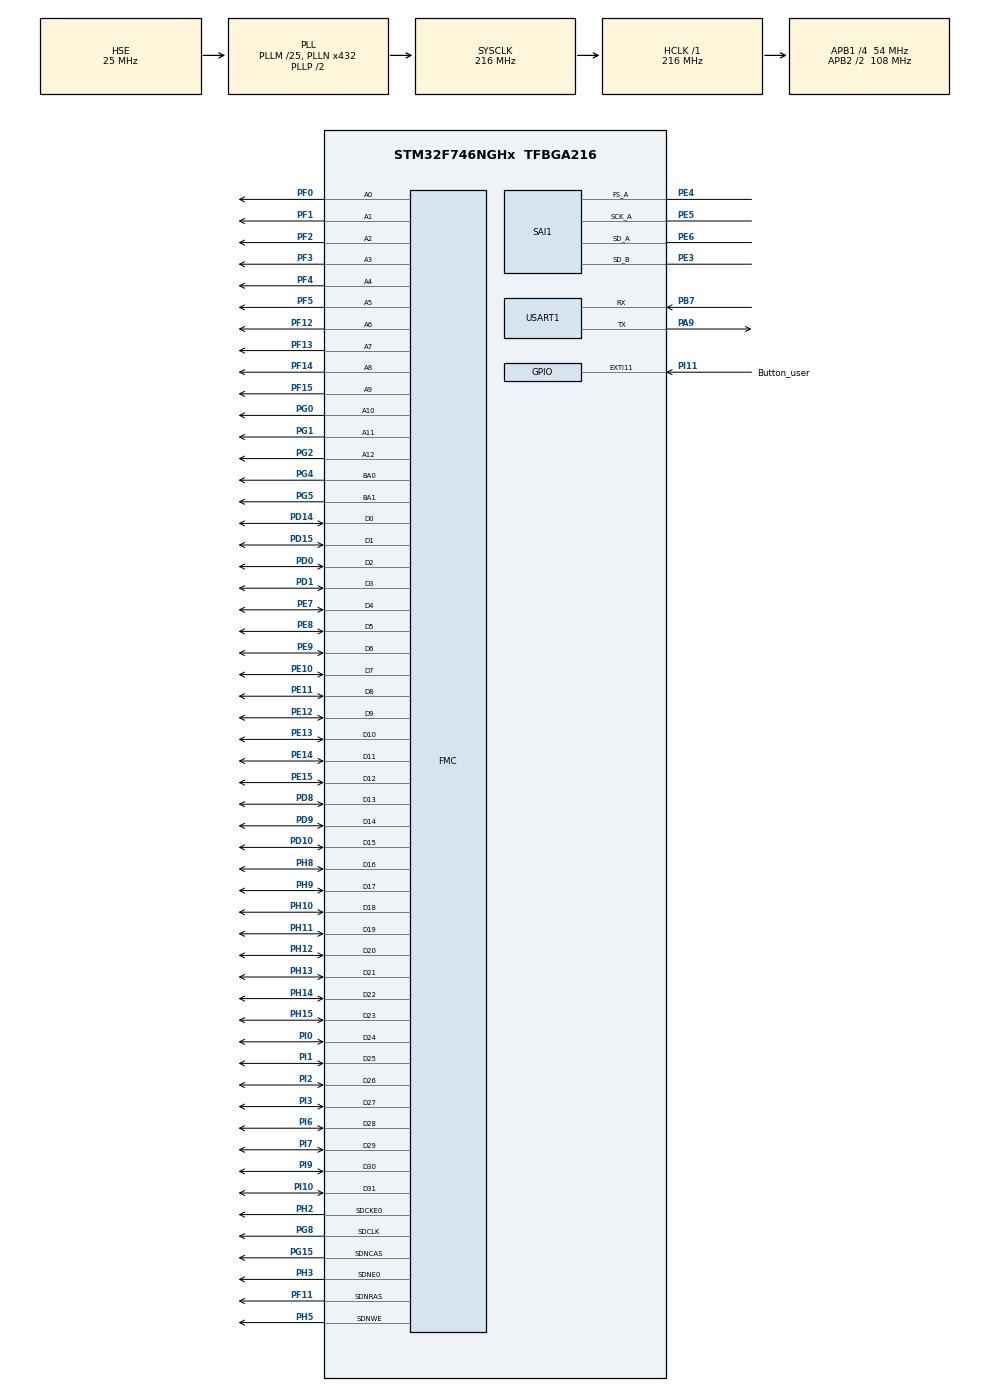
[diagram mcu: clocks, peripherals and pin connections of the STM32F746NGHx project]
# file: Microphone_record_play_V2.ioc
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CORTEX_M7.AccessPermission-Cortex_Memory_Protection_Unit_Region0_Settings=MPU_REGION_FULL_ACCESS
CORTEX_M7.BaseAddress-Cortex_Memory_Protection_Unit_Region0_Settings=0xC0000000
CORTEX_M7.Enable-Cortex_Memory_Protection_Unit_Region0_Settings=MPU_REGION_ENABLE
CORTEX_M7.MPU_Control=MPU_PRIVILEGED_DEFAULT
CORTEX_M7.Size-Cortex_Memory_Protection_Unit_Region0_Settings=MPU_REGION_SIZE_8MB
Dma.Request0=SAI1_A
Dma.Request1=SAI1_B
Dma.SAI1_A.0.Direction=DMA_PERIPH_TO_MEMORY
Dma.SAI1_A.0.FIFOMode=DMA_FIFOMODE_DISABLE
Dma.SAI1_A.0.Instance=DMA2_Stream1
Dma.SAI1_A.0.MemDataAlignment=DMA_MDATAALIGN_WORD
Dma.SAI1_A.0.MemInc=DMA_MINC_ENABLE
Dma.SAI1_A.0.Mode=DMA_CIRCULAR
Dma.SAI1_A.0.PeriphDataAlignment=DMA_PDATAALIGN_WORD
Dma.SAI1_A.0.PeriphInc=DMA_PINC_DISABLE
Dma.SAI1_A.0.Priority=DMA_PRIORITY_HIGH
Dma.SAI1_B.1.Direction=DMA_MEMORY_TO_PERIPH
Dma.SAI1_B.1.FIFOMode=DMA_FIFOMODE_DISABLE
Dma.SAI1_B.1.Instance=DMA2_Stream4
Dma.SAI1_B.1.MemDataAlignment=DMA_MDATAALIGN_WORD
Dma.SAI1_B.1.MemInc=DMA_MINC_ENABLE
Dma.SAI1_B.1.Mode=DMA_CIRCULAR
Dma.SAI1_B.1.PeriphDataAlignment=DMA_PDATAALIGN_WORD
Dma.SAI1_B.1.PeriphInc=DMA_PINC_DISABLE
Dma.SAI1_B.1.Priority=DMA_PRIORITY_LOW
FMC.CASLatency1=FMC_SDRAM_CAS_LATENCY_3
FMC.ColumnBitsNumber1=FMC_SDRAM_COLUMN_BITS_NUM_9
FMC.ExitSelfRefreshDelay1=6
FMC.LoadToActiveDelay1=2
FMC.RCDDelay1=2
FMC.RPDelay1=2
FMC.RPDelay2=2
FMC.ReadBurst1=FMC_SDRAM_RBURST_ENABLE
FMC.ReadBurst2=FMC_SDRAM_RBURST_ENABLE
FMC.ReadPipeDelay1=FMC_SDRAM_RPIPE_DELAY_1
FMC.ReadPipeDelay2=FMC_SDRAM_RPIPE_DELAY_1
FMC.RowCycleDelay1=6
FMC.RowCycleDelay2=6
FMC.SDClockPeriod1=FMC_SDRAM_CLOCK_PERIOD_2
FMC.SDClockPeriod2=FMC_SDRAM_CLOCK_PERIOD_2
FMC.SelfRefreshTime1=4
FMC.WriteRecoveryTime1=2
Mcu.Family=STM32F7
Mcu.Name=STM32F746NGHx
Mcu.Package=TFBGA216
NVIC.DMA2_Stream1_IRQn=true\:0\:0\:true\:false\:true\:false\:true\:true
NVIC.DMA2_Stream4_IRQn=true\:0\:0\:false\:false\:true\:false\:true\:true
NVIC.EXTI15_10_IRQn=true\:0\:0\:false\:false\:true\:true\:true\:true
NVIC.PriorityGroup=NVIC_PRIORITYGROUP_4
PA13.Mode=Serial_Wire
PA13.Signal=SYS_JTMS-SWDIO
PA14.Mode=Serial_Wire
PA14.Signal=SYS_JTCK-SWCLK
PA9.Mode=Asynchronous
PA9.Signal=USART1_TX
PB7.Mode=Asynchronous
PB7.Signal=USART1_RX
PD0.Signal=FMC_D2_DA2
PD1.Signal=FMC_D3_DA3
PD10.Signal=FMC_D15_DA15
PD14.Signal=FMC_D0_DA0
PD15.Signal=FMC_D1_DA1
PD8.Signal=FMC_D13_DA13
PD9.Signal=FMC_D14_DA14
PE10.Signal=FMC_D7_DA7
PE11.Signal=FMC_D8_DA8
PE12.Signal=FMC_D9_DA9
PE13.Signal=FMC_D10_DA10
PE14.Signal=FMC_D11_DA11
PE15.Signal=FMC_D12_DA12
PE3.Mode=SAI_B_SyncSlave
PE3.Signal=SAI1_SD_B
PE4.Mode=SAI_A_Master
PE4.Signal=SAI1_FS_A
PE5.Mode=SAI_A_Master
PE5.Signal=SAI1_SCK_A
PE6.Mode=SAI_A_Master
PE6.Signal=SAI1_SD_A
PE7.Signal=FMC_D4_DA4
PE8.Signal=FMC_D5_DA5
PE9.Signal=FMC_D6_DA6
PF0.Signal=FMC_A0
PF1.Signal=FMC_A1
PF11.Signal=FMC_SDNRAS
PF12.Signal=FMC_A6
PF13.Signal=FMC_A7
PF14.Signal=FMC_A8
PF15.Signal=FMC_A9
PF2.Signal=FMC_A2
PF3.Signal=FMC_A3
PF4.Signal=FMC_A4
PF5.Signal=FMC_A5
PG0.Signal=FMC_A10
PG1.Signal=FMC_A11
PG15.Signal=FMC_SDNCAS
PG2.Signal=FMC_A12
PG4.Signal=FMC_A14_BA0
PG5.Signal=FMC_A15_BA1
PG8.Signal=FMC_SDCLK
PH0/OSC_IN.Mode=HSE-External-Oscillator
PH0/OSC_IN.Signal=RCC_OSC_IN
PH1/OSC_OUT.Mode=HSE-External-Oscillator
PH1/OSC_OUT.Signal=RCC_OSC_OUT
PH10.Signal=FMC_D18
PH11.Signal=FMC_D19
PH12.Signal=FMC_D20
PH13.Signal=FMC_D21
PH14.Signal=FMC_D22
PH15.Signal=FMC_D23
PH2.Mode=SdramChipSelect1_1
PH2.Signal=FMC_SDCKE0
PH3.Mode=SdramChipSelect1_1
PH3.Signal=FMC_SDNE0
PH5.Signal=FMC_SDNWE
PH8.Signal=FMC_D16
PH9.Signal=FMC_D17
PI0.Signal=FMC_D24
PI1.Signal=FMC_D25
PI10.Signal=FMC_D31
PI11.GPIO_Label=Button_user
PI11.Signal=GPXTI11
PI2.Signal=FMC_D26
PI3.Signal=FMC_D27
PI6.Signal=FMC_D28
PI7.Signal=FMC_D29
PI9.Signal=FMC_D30
ProjectManager.HeapSize=0x200
ProjectManager.StackSize=0x400
ProjectManager.TargetToolchain=STM32CubeIDE
RCC.AHBFreq_Value=216000000
RCC.APB1CLKDivider=RCC_HCLK_DIV4
RCC.APB1Freq_Value=54000000
RCC.APB1TimFreq_Value=108000000
RCC.APB2CLKDivider=RCC_HCLK_DIV2
RCC.APB2Freq_Value=108000000
RCC.APB2TimFreq_Value=216000000
RCC.CortexFreq_Value=216000000
RCC.HCLKFreq_Value=216000000
RCC.HSE_VALUE=25000000
RCC.HSI_VALUE=16000000
RCC.LSE_VALUE=32768
RCC.PLL48CLockSelection=RCC_CLK48SOURCE_PLLSAIP
RCC.PLLI2SN=100
RCC.PLLM=25
RCC.PLLN=432
RCC.PLLQ=9
RCC.PLLSAIN=100
RCC.PLLSAIP=RCC_PLLSAIP_DIV8
RCC.PLLSAIR=5
RCC.PLLSAIRDiv=RCC_PLLSAIDIVR_8
RCC.PLLSourceVirtual=RCC_PLLSOURCE_HSE
RCC.SDMMCClockSelection=RCC_SDMMC1CLKSOURCE_CLK48
RCC.SYSCLKFreq_VALUE=216000000
RCC.SYSCLKSource=RCC_SYSCLKSOURCE_PLLCLK
RCC.USBFreq_Value=12500000
RCC.VCOOutputFreq_Value=432000000
SAI1.AudioFrequency-SAI_A_Master=SAI_AUDIO_FREQUENCY_16K
SAI1.AudioMode-SAI_A_Master=SAI_MODEMASTER_RX
SAI1.AudioMode-SAI_B_SyncSlave=SAI_MODESLAVE_TX
SAI1.DataSize-SAI_A_Master=SAI_DATASIZE_16
SAI1.DataSize-SAI_B_SyncSlave=SAI_DATASIZE_16
SAI1.ErrorAudioFreq-SAI_A_Master=1.72 %
SAI1.FIFOThreshold-SAI_B_SyncSlave=SAI_FIFOTHRESHOLD_1QF
SAI1.FrameLength-SAI_A_Master=16
SAI1.FrameLength-SAI_B_SyncSlave=16
SAI1.Instance-SAI_A_Master=SAI$Index_Block_A
SAI1.Instance-SAI_B_SyncSlave=SAI$Index_Block_B
SAI1.MClockEnable-SAI_A_Master=SAI_MASTERCLOCK_DISABLE
SAI1.RealAudioFreq-SAI_A_Master=16.276 KHz
SAI1.VirtualMode-SAI_A_Master=VM_MASTER
SAI1.VirtualMode-SAI_B_SyncSlave=VM_SLAVE
SH.FMC_A0.0=FMC_A0,13b-sda1
SH.FMC_A1.0=FMC_A1,13b-sda1
SH.FMC_A10.0=FMC_A10,13b-sda1
SH.FMC_A11.0=FMC_A11,13b-sda1
SH.FMC_A12.0=FMC_A12,13b-sda1
SH.FMC_A14_BA0.0=FMC_BA0,FourSdramBanks1
SH.FMC_A15_BA1.0=FMC_BA1,FourSdramBanks1
SH.FMC_A2.0=FMC_A2,13b-sda1
SH.FMC_A3.0=FMC_A3,13b-sda1
SH.FMC_A4.0=FMC_A4,13b-sda1
SH.FMC_A5.0=FMC_A5,13b-sda1
SH.FMC_A6.0=FMC_A6,13b-sda1
SH.FMC_A7.0=FMC_A7,13b-sda1
SH.FMC_A8.0=FMC_A8,13b-sda1
SH.FMC_A9.0=FMC_A9,13b-sda1
SH.FMC_D0_DA0.0=FMC_D0,sd-32b-d1
SH.FMC_D10_DA10.0=FMC_D10,sd-32b-d1
SH.FMC_D11_DA11.0=FMC_D11,sd-32b-d1
SH.FMC_D12_DA12.0=FMC_D12,sd-32b-d1
SH.FMC_D13_DA13.0=FMC_D13,sd-32b-d1
SH.FMC_D14_DA14.0=FMC_D14,sd-32b-d1
SH.FMC_D15_DA15.0=FMC_D15,sd-32b-d1
SH.FMC_D16.0=FMC_D16,sd-32b-d1
SH.FMC_D17.0=FMC_D17,sd-32b-d1
SH.FMC_D18.0=FMC_D18,sd-32b-d1
SH.FMC_D19.0=FMC_D19,sd-32b-d1
SH.FMC_D1_DA1.0=FMC_D1,sd-32b-d1
SH.FMC_D20.0=FMC_D20,sd-32b-d1
SH.FMC_D21.0=FMC_D21,sd-32b-d1
SH.FMC_D22.0=FMC_D22,sd-32b-d1
SH.FMC_D23.0=FMC_D23,sd-32b-d1
SH.FMC_D24.0=FMC_D24,sd-32b-d1
SH.FMC_D25.0=FMC_D25,sd-32b-d1
SH.FMC_D26.0=FMC_D26,sd-32b-d1
SH.FMC_D27.0=FMC_D27,sd-32b-d1
SH.FMC_D28.0=FMC_D28,sd-32b-d1
SH.FMC_D29.0=FMC_D29,sd-32b-d1
SH.FMC_D2_DA2.0=FMC_D2,sd-32b-d1
SH.FMC_D30.0=FMC_D30,sd-32b-d1
SH.FMC_D31.0=FMC_D31,sd-32b-d1
SH.FMC_D3_DA3.0=FMC_D3,sd-32b-d1
SH.FMC_D4_DA4.0=FMC_D4,sd-32b-d1
SH.FMC_D5_DA5.0=FMC_D5,sd-32b-d1
SH.FMC_D6_DA6.0=FMC_D6,sd-32b-d1
SH.FMC_D7_DA7.0=FMC_D7,sd-32b-d1
SH.FMC_D8_DA8.0=FMC_D8,sd-32b-d1
SH.FMC_D9_DA9.0=FMC_D9,sd-32b-d1
SH.FMC_SDCLK.0=FMC_SDCLK,13b-sda1
SH.FMC_SDNCAS.0=FMC_SDNCAS,13b-sda1
SH.FMC_SDNRAS.0=FMC_SDNRAS,13b-sda1
SH.FMC_SDNWE.0=FMC_SDNWE,13b-sda1
USART1.VirtualMode-Asynchronous=VM_ASYNC
board=STM32F746G-DISCO

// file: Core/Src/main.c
/* USER CODE BEGIN Header */
/**
  ******************************************************************************
  * @file           : main.c
  * @brief          : Main program body
  ******************************************************************************
  * @attention
  *
  * Copyright (c) 2024 STMicroelectronics.
  * All rights reserved.
  *
  * This software is licensed under terms that can be found in the LICENSE file
  * in the root directory of this software component.
  * If no LICENSE file comes with this software, it is provided AS-IS.
  *
  ******************************************************************************
  */
/* USER CODE END Header */
#include "main.h"
#include "dma.h"
#include "sai.h"
#include "usart.h"
#include "gpio.h"
#include "fmc.h"

/* USER CODE BEGIN Includes */
#include "stm32f7xx_hal.h"
#include "stm32746g_discovery_audio.h"
/* USER CODE END Includes */

/* USER CODE BEGIN PTD */

#define AUDIO_BUFFER_SIZE       512  // 512 bytes
#define AUDIO_DEFAULT_VOLUME    70 // 70% volume

typedef enum
{
  BUFFER_OFFSET_NONE = 0,
  BUFFER_OFFSET_HALF = 1,
  BUFFER_OFFSET_FULL = 2,
}BUFFER_StateTypeDef;

typedef enum {
  AUDIO_ERROR_NONE = 0,
  AUDIO_ERROR_NOTREADY,
  AUDIO_ERROR_IO,
  AUDIO_ERROR_EOF,
}AUDIO_ErrorTypeDef;

typedef enum {
  AUDIO_STATE_IDLE = 0,
  AUDIO_STATE_INIT,
  AUDIO_STATE_PLAYING,
}AUDIO_PLAYBACK_StateTypeDef;

typedef struct {
  uint8_t buff[AUDIO_BUFFER_SIZE];
  uint32_t fptr;
  BUFFER_StateTypeDef state;
}AUDIO_BufferTypeDef;

/* USER CODE END PTD */

/* USER CODE BEGIN PD */

#define AUDIO_FILE_SIZE               524288 /* 512 KB , flash size = 1 Mb */
#define AUDIO_START_OFFSET_ADDRESS    0            /* Offset relative to audio file header size */
#define AUDIO_FILE_ADDRESS            0x08080000   /* Audio file address, internal flash memory region starting at 512 KB */

#define AUDIO_BLOCK_SIZE   ((uint32_t)0xFFFE)
#define AUDIO_NB_BLOCKS    ((uint32_t)4)

#define SDRAM_DEVICE_ADDR  ((uint32_t)0xC0000000)
#define AUDIO_REC_START_ADDR         SDRAM_DEVICE_ADDR

/* USER CODE END PD */

/* USER CODE BEGIN PV */
ALIGN_32BYTES (static AUDIO_BufferTypeDef  buffer_ctl);
static AUDIO_PLAYBACK_StateTypeDef  audio_state;
static uint32_t  AudioStartAddress;
static uint32_t  AudioFileSize;

static uint16_t  internal_buffer[AUDIO_BLOCK_SIZE];
uint32_t  audio_rec_buffer_state;

extern SAI_HandleTypeDef haudio_in_sai;
extern DMA_HandleTypeDef hdma_sai1_a;

/* USER CODE END PV */

void SystemClock_Config(void);
void PeriphCommonClock_Config(void);
static void MPU_Config(void);
/* USER CODE BEGIN PFP */
#ifdef __GNUC__
/* With GCC/RAISONANCE, small printf (option LD Linker-
>Libraries->Small printf
set to 'Yes') calls __io_putchar() */
#define PUTCHAR_PROTOTYPE int __io_putchar(int ch)
#else
#define PUTCHAR_PROTOTYPE int fputc(int ch, FILE *f)
#endif /* __GNUC__ */

AUDIO_ErrorTypeDef AUDIO_Start(uint32_t audio_start_address, uint32_t audio_file_size);
static uint32_t GetData(void *pdata, uint32_t offset, uint8_t *pbuf, uint32_t NbrOfData);

static void AudioRec_SetHint(void);

/* USER CODE END PFP */

/* USER CODE BEGIN 0 */
volatile uint8_t button_pressed = 0;
/* USER CODE END 0 */

int main(void)
{

  /* MPU Configuration--------------------------------------------------------*/
  MPU_Config();

  /* MCU Configuration--------------------------------------------------------*/

  /* Reset of all peripherals, Initializes the Flash interface and the Systick. */
  HAL_Init();

  /* Configure the system clock */
  SystemClock_Config();

  /* Configure the peripherals common clocks */
  PeriphCommonClock_Config();

  /* Initialize all configured peripherals */
  MX_GPIO_Init();
  MX_DMA_Init();
  MX_USART1_UART_Init();
  MX_SAI1_Init();
  MX_FMC_Init();

  /* USER CODE BEGIN 2 */

  /* Initialize SDRAM */
  BSP_SDRAM_Init();

  /* Initialize Audio Recorder */
	if (BSP_AUDIO_IN_Init(DEFAULT_AUDIO_IN_FREQ, DEFAULT_AUDIO_IN_BIT_RESOLUTION, DEFAULT_AUDIO_IN_CHANNEL_NBR) == AUDIO_OK)
	{
		printf("Audio input setup OK\r\n");
	}

	uint32_t  block_number;

  /* USER CODE END 2 */

  /* Infinite loop */
  while (1)
  {

    /* USER CODE BEGIN 3 */
	  check_button_release();
	  printf("Waiting for input to record...\r\n");
	  HAL_Delay(1000);
	  if (button_pressed == 1)
	  {
		  check_button_release();
		  printf("recording...\r\n");
		  /* Start Recording */
		  BSP_AUDIO_IN_Record(internal_buffer, AUDIO_BLOCK_SIZE);
		  for (block_number = 0; block_number < AUDIO_NB_BLOCKS; block_number++)
		  {
		    /* Wait end of half block recording */
		    while(audio_rec_buffer_state != BUFFER_OFFSET_HALF)
		    {
		      //printf("Waiting for BUFFER_OFFSET_HALF...\r\n");
		      //HAL_Delay(1000);
		      if (button_pressed == 1)
		      {
		    	check_button_release();
		        /* Stop Player before close Test */
		        BSP_AUDIO_OUT_Stop(CODEC_PDWN_SW);
		        return;
		      }
		    }

		    audio_rec_buffer_state = BUFFER_OFFSET_NONE;

		    /* Copy recorded 1st half block in SDRAM */

		    printf("DMA State: %d\r\n", HAL_DMA_GetState(&hdma_sai1_a));

		    printf("DMA Error: %lu\r\n", HAL_DMA_GetError(&hdma_sai1_a));

		    if (HAL_DMA_GetState(&haudio_in_sai) == HAL_DMA_STATE_READY) {
		        // DMA is ready, it's safe to use memcpy
			    printf("Copying data to memory...\r\n");
			    memcpy((uint32_t *)(AUDIO_REC_START_ADDR + (block_number * AUDIO_BLOCK_SIZE * 2)),
			           internal_buffer,
			           AUDIO_BLOCK_SIZE);
			    printf("Copy complete.\r\n");
		    }

		    /* Wait end of one block recording */
		    while(audio_rec_buffer_state != BUFFER_OFFSET_FULL)
		    {
		      if (button_pressed == 1)
		      {
			    check_button_release();
		        /* Stop Player before close Test */
		        BSP_AUDIO_OUT_Stop(CODEC_PDWN_SW);
		        return;
		      }
		    }
		    audio_rec_buffer_state = BUFFER_OFFSET_NONE;
		    /* Copy recorded 2nd half block in SDRAM */

		    if (HAL_DMA_GetState(&hdma_sai1_a) == HAL_DMA_STATE_READY) {
		        // DMA is ready, it's safe to use memcpy
		    	printf("Copying data to memory...\r\n");
			    memcpy((uint32_t *)(AUDIO_REC_START_ADDR + (block_number * AUDIO_BLOCK_SIZE * 2)),
			           internal_buffer,
			           AUDIO_BLOCK_SIZE);
			    printf("Copy complete.\r\n");
		    }

		  }
		  printf("stopped recording\r\n");
		  BSP_AUDIO_IN_Stop(CODEC_PDWN_SW);

		  for (int i = 0; i < 512; i++) {
		      printf("SDRAM Data[%d]: %02X\r\n", i, ((uint8_t *)AUDIO_REC_START_ADDR)[i]);
		  }

		  printf("playing recording...\r\n");
		  /* -----------Start Playback -------------- */
		  /* Initialize audio IN at REC_FREQ*/
		  BSP_AUDIO_OUT_Init(OUTPUT_DEVICE_HEADPHONE, 70, DEFAULT_AUDIO_IN_FREQ);
		  BSP_AUDIO_OUT_SetAudioFrameSlot(CODEC_AUDIOFRAME_SLOT_02);

		  /* Play the recorded buffer*/
		  AUDIO_Start(AUDIO_REC_START_ADDR, AUDIO_BLOCK_SIZE * AUDIO_NB_BLOCKS * 2);  /* Use Audio play demo to playback sound */
		  printf("playback end...\r\n");

		  /*
		  while (button_pressed == 0)
		  {
			  if(button_pressed == 1)
					  {

					  }
		  }
		  */

	  }
  }
  /* USER CODE END 3 */
}

void SystemClock_Config(void)
{
  RCC_OscInitTypeDef RCC_OscInitStruct = {0};
  RCC_ClkInitTypeDef RCC_ClkInitStruct = {0};

  /** Configure the main internal regulator output voltage
  */
  __HAL_RCC_PWR_CLK_ENABLE();
  __HAL_PWR_VOLTAGESCALING_CONFIG(PWR_REGULATOR_VOLTAGE_SCALE1);

  /** Initializes the RCC Oscillators according to the specified parameters
  * in the RCC_OscInitTypeDef structure.
  */
  RCC_OscInitStruct.OscillatorType = RCC_OSCILLATORTYPE_HSE;
  RCC_OscInitStruct.HSEState = RCC_HSE_ON;
  RCC_OscInitStruct.PLL.PLLState = RCC_PLL_ON;
  RCC_OscInitStruct.PLL.PLLSource = RCC_PLLSOURCE_HSE;
  RCC_OscInitStruct.PLL.PLLM = 25;
  RCC_OscInitStruct.PLL.PLLN = 432;
  RCC_OscInitStruct.PLL.PLLP = RCC_PLLP_DIV2;
  RCC_OscInitStruct.PLL.PLLQ = 9;
  if (HAL_RCC_OscConfig(&RCC_OscInitStruct) != HAL_OK)
  {
    Error_Handler();
  }

  /** Activate the Over-Drive mode
  */
  if (HAL_PWREx_EnableOverDrive() != HAL_OK)
  {
    Error_Handler();
  }

  /** Initializes the CPU, AHB and APB buses clocks
  */
  RCC_ClkInitStruct.ClockType = RCC_CLOCKTYPE_HCLK|RCC_CLOCKTYPE_SYSCLK
                              |RCC_CLOCKTYPE_PCLK1|RCC_CLOCKTYPE_PCLK2;
  RCC_ClkInitStruct.SYSCLKSource = RCC_SYSCLKSOURCE_PLLCLK;
  RCC_ClkInitStruct.AHBCLKDivider = RCC_SYSCLK_DIV1;
  RCC_ClkInitStruct.APB1CLKDivider = RCC_HCLK_DIV4;
  RCC_ClkInitStruct.APB2CLKDivider = RCC_HCLK_DIV2;

  if (HAL_RCC_ClockConfig(&RCC_ClkInitStruct, FLASH_LATENCY_7) != HAL_OK)
  {
    Error_Handler();
  }
}

void PeriphCommonClock_Config(void)
{
  RCC_PeriphCLKInitTypeDef PeriphClkInitStruct = {0};

  /** Initializes the peripherals clock
  */
  PeriphClkInitStruct.PeriphClockSelection = RCC_PERIPHCLK_SAI1;
  PeriphClkInitStruct.PLLSAI.PLLSAIN = 100;
  PeriphClkInitStruct.PLLSAI.PLLSAIR = 5;
  PeriphClkInitStruct.PLLSAI.PLLSAIQ = 2;
  PeriphClkInitStruct.PLLSAI.PLLSAIP = RCC_PLLSAIP_DIV8;
  PeriphClkInitStruct.PLLSAIDivQ = 1;
  PeriphClkInitStruct.PLLSAIDivR = RCC_PLLSAIDIVR_8;
  PeriphClkInitStruct.Sai1ClockSelection = RCC_SAI1CLKSOURCE_PLLSAI;
  if (HAL_RCCEx_PeriphCLKConfig(&PeriphClkInitStruct) != HAL_OK)
  {
    Error_Handler();
  }
}

/* USER CODE BEGIN 4 */

PUTCHAR_PROTOTYPE
{
/* Place your implementation of fputc here */
/* e.g. write a character to the USART2 and Loop until the end
of transmission */
HAL_UART_Transmit(&huart1, (uint8_t *)&ch, 1, 100);
return ch;
}

AUDIO_ErrorTypeDef AUDIO_Start(uint32_t audio_start_address, uint32_t audio_file_size)
{
  uint32_t bytesread;

  buffer_ctl.state = BUFFER_OFFSET_NONE;
  AudioStartAddress = audio_start_address;
  AudioFileSize = audio_file_size;
  bytesread = GetData( (void *)AudioStartAddress,
                      0,
                      &buffer_ctl.buff[0],
                      AUDIO_BUFFER_SIZE);
  if(bytesread > 0)
  {
    /* Clean Data Cache to update the content of the SRAM */
    SCB_CleanDCache_by_Addr((uint32_t*)&buffer_ctl.buff[0], AUDIO_BUFFER_SIZE/2);

    BSP_AUDIO_OUT_Play((uint16_t*)&buffer_ctl.buff[0], AUDIO_BUFFER_SIZE);
    audio_state = AUDIO_STATE_PLAYING;
    buffer_ctl.fptr = bytesread;
    return AUDIO_ERROR_NONE;
  }
  return AUDIO_ERROR_IO;
}

static uint32_t GetData(void *pdata, uint32_t offset, uint8_t *pbuf, uint32_t NbrOfData)
{
  uint8_t *lptr = pdata;
  uint32_t ReadDataNbr;

  ReadDataNbr = 0;
  printf("offset: %lu, AudioFileSize: %lu, NbrOfData: %lu\r\n", offset, AudioFileSize, NbrOfData);

  printf("pdata: %p, pbuf: %p\r\n", pdata, pbuf);
  printf("buffer ctl.buff : %p\r\n", buffer_ctl.buff);

  while(((offset + ReadDataNbr) < AudioFileSize) && (ReadDataNbr < NbrOfData))
  {
    pbuf[ReadDataNbr]= lptr [offset + ReadDataNbr];
    ReadDataNbr++;
  }
  return ReadDataNbr;
}

void HAL_GPIO_EXTI_Callback(uint16_t GPIO_Pin)
{
  /* Prevent unused argument(s) compilation warning */
  UNUSED(GPIO_Pin);

  if (GPIO_Pin == Button_user_Pin && button_pressed == 0)
      {
	  	  button_pressed = 1;
	  	  printf("Button pressed...\r\n");
      }

}

void BSP_AUDIO_OUT_TransferComplete_CallBack(void)
{
  if(audio_state == AUDIO_STATE_PLAYING)
  {
    /* allows AUDIO_Process() to refill 2nd part of the buffer  */
    buffer_ctl.state = BUFFER_OFFSET_FULL;
  }
}

void BSP_AUDIO_OUT_HalfTransfer_CallBack(void)
{
  if(audio_state == AUDIO_STATE_PLAYING)
  {
    /* allows AUDIO_Process() to refill 1st part of the buffer  */
    buffer_ctl.state = BUFFER_OFFSET_HALF;
  }
}

void BSP_AUDIO_IN_TransferComplete_CallBack(void)
{
  printf("Full Transfer Callback triggered.\r\n");
  audio_rec_buffer_state = BUFFER_OFFSET_FULL;
  return;
}

void BSP_AUDIO_IN_HalfTransfer_CallBack(void)
{
  printf("Half Transfer Callback triggered.\r\n");
  audio_rec_buffer_state = BUFFER_OFFSET_HALF;
  return;
}

void BSP_AUDIO_IN_Error_CallBack(void)
{
  /* This function is called when an Interrupt due to transfer error on or peripheral
     error occurs. */
  /* Display message on the LCD screen */
  printf("DMA ERROR\r\n");

  /* Stop the program with an infinite loop */
  while (BSP_PB_GetState(BUTTON_KEY) != RESET)
  {
    return;
  }
  /* could also generate a system reset to recover from the error */
  /* .... */
}

void check_button_release()
{
    if (HAL_GPIO_ReadPin(GPIOI, Button_user_Pin) == GPIO_PIN_RESET) button_pressed = 0;
}

/* USER CODE END 4 */

 /* MPU Configuration */

void MPU_Config(void)
{
  MPU_Region_InitTypeDef MPU_InitStruct = {0};

  /* Disables the MPU */
  HAL_MPU_Disable();

  /** Initializes and configures the Region and the memory to be protected
  */
  MPU_InitStruct.Enable = MPU_REGION_ENABLE;
  MPU_InitStruct.Number = MPU_REGION_NUMBER0;
  MPU_InitStruct.BaseAddress = 0xC0000000;
  MPU_InitStruct.Size = MPU_REGION_SIZE_8MB;
  MPU_InitStruct.SubRegionDisable = 0x0;
  MPU_InitStruct.TypeExtField = MPU_TEX_LEVEL0;
  MPU_InitStruct.AccessPermission = MPU_REGION_FULL_ACCESS;
  MPU_InitStruct.DisableExec = MPU_INSTRUCTION_ACCESS_ENABLE;
  MPU_InitStruct.IsShareable = MPU_ACCESS_NOT_SHAREABLE;
  MPU_InitStruct.IsCacheable = MPU_ACCESS_NOT_CACHEABLE;
  MPU_InitStruct.IsBufferable = MPU_ACCESS_NOT_BUFFERABLE;

  HAL_MPU_ConfigRegion(&MPU_InitStruct);
  /* Enables the MPU */
  HAL_MPU_Enable(MPU_PRIVILEGED_DEFAULT);

}

void Error_Handler(void)
{
  __disable_irq();
  while (1)
  {
  }
}
